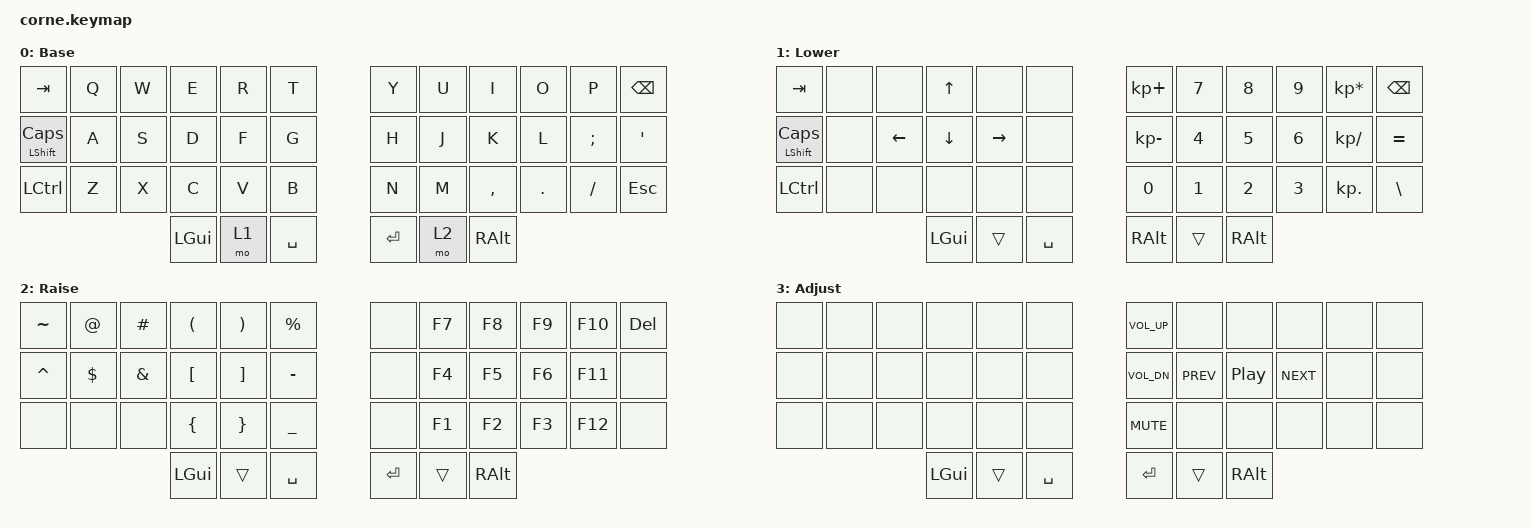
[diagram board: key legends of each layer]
/*
 * Copyright (c) 2020 The ZMK Contributors
 *
 * SPDX-License-Identifier: MIT
 */

#include <behaviors.dtsi>
#include <dt-bindings/zmk/keys.h>
#include <dt-bindings/zmk/bt.h>

/ {
    /* Combinación automática para la Capa 3 al presionar Lower + Raise */
    conditional_layers {
        compatible = "zmk,conditional-layers";
        tri_layer {
            if-layers = <1 2>;
            then-layer = <3>;
        };
    };

    keymap {
        compatible = "zmk,keymap";

        default_layer {
            display-name = "Base";
            bindings = <
&kp TAB         &kp Q  &kp W  &kp E     &kp R  &kp T        &kp Y    &kp U  &kp I      &kp O    &kp P     &kp BSPC
&mt LSHFT CAPS  &kp A  &kp S  &kp D     &kp F  &kp G        &kp H    &kp J  &kp K      &kp L    &kp SEMI  &kp SQT
&kp LCTRL       &kp Z  &kp X  &kp C     &kp V  &kp B        &kp N    &kp M  &kp COMMA  &kp DOT  &kp FSLH  &kp ESC
                              &kp LGUI  &mo 1  &kp SPACE    &kp RET  &mo 2  &kp RALT
            >;
        };

        lower_layer {
            display-name = "Lower";
            bindings = <
&kp TAB         &none  &none    &kp UP    &none     &none        &kp KP_PLUS  &kp N7    &kp N8     &kp N9  &kp KP_ASTERISK  &kp BSPC
&mt LSHFT CAPS  &none  &kp LEFT &kp DOWN  &kp RIGHT &none        &kp KP_MINUS &kp N4    &kp N5     &kp N6  &kp KP_SLASH     &kp EQUAL
&kp LCTRL       &none  &none    &none     &none     &none        &kp N0       &kp N1    &kp N2     &kp N3  &kp KP_DOT       &kp BACKSLASH
                                &kp LGUI  &trans    &kp SPACE    &kp RALT     &trans    &kp RALT
            >;
        };

        raise_layer {
            display-name = "Raise";
            bindings = <
&kp TILDE  &kp AT    &kp HASH  &kp LPAR  &kp RPAR  &kp PRCNT    &none    &kp F7   &kp F8   &kp F9   &kp F10  &kp DEL 

&kp CARET  &kp DLLR  &kp AMPS  &kp LBKT  &kp RBKT  &kp MINUS    &none    &kp F4   &kp F5   &kp F6   &kp F11  &none
&none      &none     &none     &kp LBRC  &kp RBRC  &kp UNDER    &none    &kp F1   &kp F2   &kp F3   &kp F12  &none
                               &kp LGUI  &trans    &kp SPACE    &kp RET  &trans   &kp RALT
            >;
        };

        adjust_layer {
            display-name = "Adjust";
            bindings = <
&none  &none  &none  &none    &none  &none        &kp C_VOL_UP  &none       &none     &none       &none  &none
&none  &none  &none  &none    &none  &none        &kp C_VOL_DN  &kp C_PREV  &kp C_PP  &kp C_NEXT  &none  &none
&none  &none  &none  &none    &none  &none        &kp C_MUTE    &none       &none     &none       &none  &none
                     &kp LGUI &trans &kp SPACE    &kp RET       &trans      &kp RALT
            >;
        };

        /* Capas reservadas para compatibilidad con ZMK Studio */
        extra1 {
            status = "reserved";
        };

        extra2 {
            status = "reserved";
        };
    };
};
